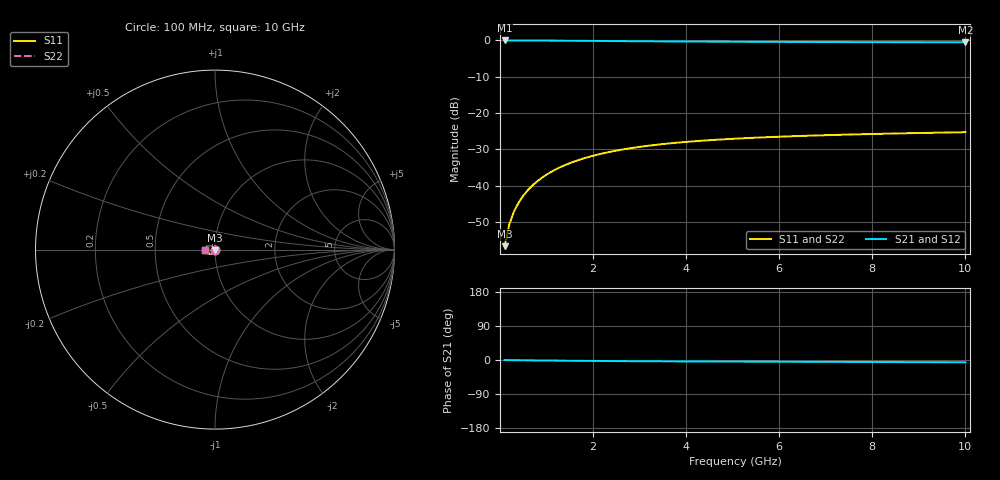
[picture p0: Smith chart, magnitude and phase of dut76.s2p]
! Touchstone file exported from HFSS 2024.1.0
!  File:  C:/UserFiles/LocalFiles/RDL_TSV_Batchsim/temp_TSV1_76_1778750606.aedt
!  Generated:  05:28:12 PM May 14, 2026
!  Design:  TSV1
!  Project:  temp_TSV1_76_1778750606
!  Setup:  Setup1
!  Solution:  Sweep
! Variables:
!  dtsv = 10.1um
!  hbump = 3um
!  htsv = 95.32um
!  lrdl = 252.1521522um
!  p = 40
!  p1 = 49.52um
!  t = 500um
!  trdl = 3um
!  wrdl = 24.89489489um
# GHz S MA R 50.000000
! Terminal data exported
! Port[1] = TSV22_T1
! Port[2] = TSV22_T2
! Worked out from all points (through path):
!   100 points, 100 MHz to 10 GHz, reference 50 ohm
!   highest |S21| = 0.00 dB at 100 MHz (marker M1); lowest = -0.5 dB at 10 GHz (marker M2)
!   lowest |S11| = -56.7 dB at 100 MHz (marker M3), VSWR 1.00, Z = 50 - j0.146 ohm
!   |S11| at or under -10 dB: start of sweep to end of sweep
!   |S22| runs from -56.7 to -25.3 dB; largest |S21 - S12| = 3.4e-15
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0.1  0.001461 -85.5  0.9998 -0.1  0.9998 -0.1  0.001461 -85.5
! Gamma 0 0 0 0
! Port Impedance 50 0 50 0
0.2  0.002909 -90.2  0.9996 -0.3  0.9996 -0.3  0.002909 -90.2
0.3  0.004358 -93.0  0.9994 -0.4  0.9994 -0.4  0.004358 -93.0
0.4  0.005802 -95.2  0.9991 -0.6  0.9991 -0.6  0.005802 -95.2
0.5  0.007237 -97.3  0.9987 -0.7  0.9987 -0.7  0.007237 -97.3
0.6  0.008657 -99.3  0.9982 -0.9  0.9982 -0.9  0.008657 -99.3
0.7  0.01006 -101.2  0.9976 -1.0  0.9976 -1.0  0.01006 -101.2
0.8  0.01144 -103.0  0.997 -1.1  0.997 -1.1  0.01144 -103.0
0.9  0.0128 -104.8  0.9963 -1.2  0.9963 -1.2  0.0128 -104.8
1.1  0.01543 -108.3  0.9947 -1.5  0.9947 -1.5  0.01543 -108.3
1.4  0.01916 -113.3  0.992 -1.8  0.992 -1.8  0.01916 -113.3
1.6  0.02149 -116.4  0.9901 -2.1  0.9901 -2.1  0.02149 -116.4
1.8  0.02368 -119.5  0.988 -2.3  0.988 -2.3  0.02368 -119.5
2.1  0.02671 -123.8  0.9849 -2.5  0.9849 -2.5  0.02671 -123.8
2.5  0.0303 -129.1  0.9807 -2.9  0.9807 -2.9  0.0303 -129.1
2.9  0.03341 -134.0  0.9766 -3.1  0.9766 -3.1  0.03341 -134.0
3.4  0.0367 -139.4  0.972 -3.4  0.972 -3.4  0.0367 -139.4
4.2  0.04088 -147.0  0.9655 -3.8  0.9655 -3.8  0.04088 -147.0
5.1  0.04442 -154.3  0.9597 -4.2  0.9597 -4.2  0.04442 -154.3
6.7  0.04882 -164.6  0.9522 -4.8  0.9522 -4.8  0.04882 -164.6
8.4  0.05204 -173.3  0.947 -5.4  0.947 -5.4  0.05204 -173.3
10  0.05439 179.8  0.9436 -6.0  0.9436 -6.0  0.05439 179.8
